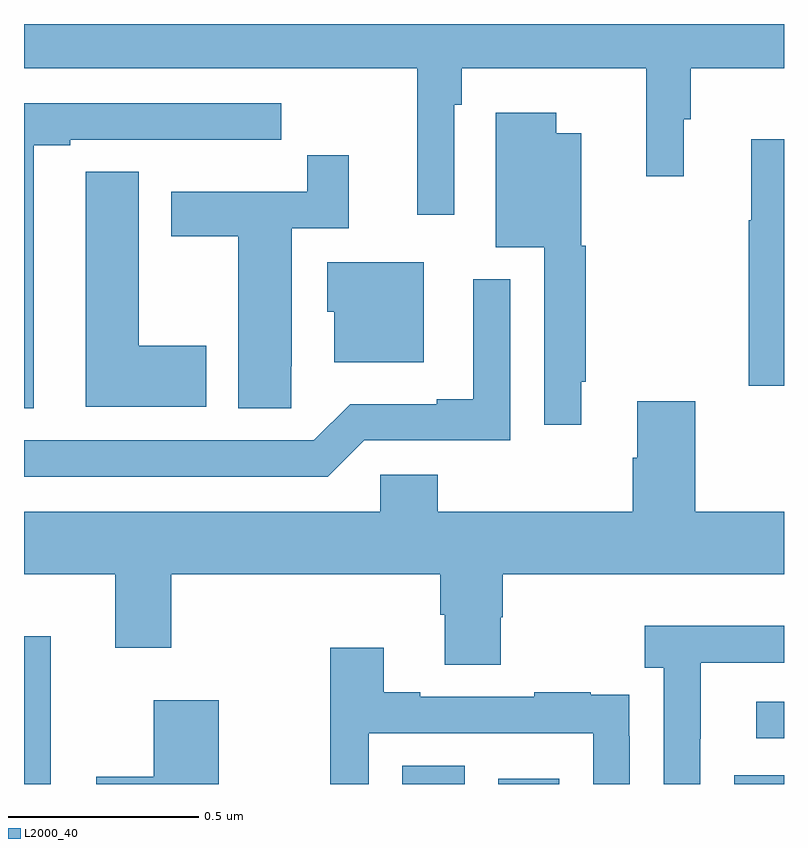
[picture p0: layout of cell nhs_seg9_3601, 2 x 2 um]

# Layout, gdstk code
import gdstk
lib = gdstk.Library(unit=1e-6, precision=1e-09)
def R(c, l, rs):  # rectangles x0, y0, x1, y1
    for r in rs: c.add(gdstk.rectangle(r[:2], r[2:], *l))
def P(c, l, *ps):  # polygons
    for p in ps: c.add(gdstk.Polygon(p, *l))
L2000_40 = (2000, 40)

nhs_seg9_3601 = lib.new_cell('nhs_seg9_3601')
R(nhs_seg9_3601, L2000_40, [(155,1230.5,155.071,1230.889), (155.996,1230.5,156.16,1230.548), (156.248,1230.5,156.409,1230.514), (156.869,1230.5,157,1230.523), (156.927,1230.621,157,1230.717)])
P(nhs_seg9_3601, L2000_40, [(155,1232.384),(156.035,1232.384),(156.035,1231.998),(156.132,1231.998),(156.132,1232.288),(156.152,1232.288),(156.152,1232.384),(156.637,1232.384),(156.637,1232.1),(156.736,1232.1),(156.736,1232.25),(156.755,1232.25),(156.755,1232.384),(157,1232.384),(157,1232.5),(155,1232.5)],
  [(155.026,1232.181),(155.122,1232.181),(155.122,1232.196),(155.398,1232.196),(155.398,1232.195),(155.564,1232.195),(155.564,1232.196),(155.677,1232.196),(155.677,1232.292),(155,1232.292),(155,1231.489),(155.026,1231.489)],
  [(156.466,1231.558),(156.478,1231.558),(156.478,1231.917),(156.466,1231.917),(156.466,1232.212),(156.4,1232.212),(156.4,1232.266),(156.242,1232.266),(156.242,1231.913),(156.369,1231.913),(156.369,1231.446),(156.466,1231.446)],
  [(157,1232.197),(156.914,1232.197),(156.914,1231.984),(156.907,1231.984),(156.907,1231.548),(157,1231.548)],
  [(155.703,1231.6),(155.704,1231.6),(155.704,1231.962),(155.855,1231.962),(155.855,1232.155),(155.746,1232.155),(155.746,1232.058),(155.387,1232.058),(155.387,1231.942),(155.564,1231.942),(155.564,1231.489),(155.703,1231.489)],
  [(155.479,1231.653),(155.302,1231.653),(155.302,1232.111),(155.163,1232.111),(155.163,1232.003),(155.162,1232.003),(155.162,1231.493),(155.479,1231.493)],
  [(156.052,1231.873),(155.798,1231.873),(155.798,1231.743),(155.816,1231.743),(155.816,1231.61),(156.052,1231.61)],
  [(155.895,1231.404),(156.279,1231.404),(156.279,1231.828),(156.182,1231.828),(156.182,1231.513),(156.086,1231.513),(156.086,1231.5),(155.859,1231.5),(155.763,1231.404),(155,1231.404),(155,1231.308),(155.799,1231.308)],
  [(156.255,1230.939),(156.26,1230.939),(156.26,1231.052),(157,1231.052),(157,1231.216),(156.767,1231.216),(156.767,1231.507),(156.614,1231.507),(156.614,1231.358),(156.602,1231.358),(156.602,1231.216),(156.089,1231.216),(156.089,1231.314),(155.937,1231.314),(155.937,1231.216),(155,1231.216),(155,1231.052),(155.24,1231.052),(155.24,1230.858),(155.388,1230.858),(155.388,1231.052),(156.095,1231.052),(156.095,1230.946),(156.107,1230.946),(156.107,1230.814),(156.255,1230.814)],
  [(156.78,1230.619),(156.781,1230.619),(156.781,1230.819),(157,1230.819),(157,1230.916),(156.633,1230.916),(156.633,1230.806),(156.684,1230.806),(156.684,1230.5),(156.78,1230.5)],
  [(155.907,1230.633),(156.498,1230.633),(156.498,1230.5),(156.594,1230.5),(156.594,1230.626),(156.593,1230.626),(156.593,1230.735),(156.491,1230.735),(156.491,1230.742),(156.343,1230.742),(156.343,1230.729),(156.043,1230.729),(156.043,1230.742),(155.947,1230.742),(155.947,1230.859),(155.806,1230.859),(155.806,1230.5),(155.907,1230.5)],
  [(155.512,1230.721),(155.342,1230.721),(155.342,1230.519),(155.19,1230.519),(155.19,1230.5),(155.512,1230.5)])

lib.write_gds('nhs_seg9_3601.gds')
